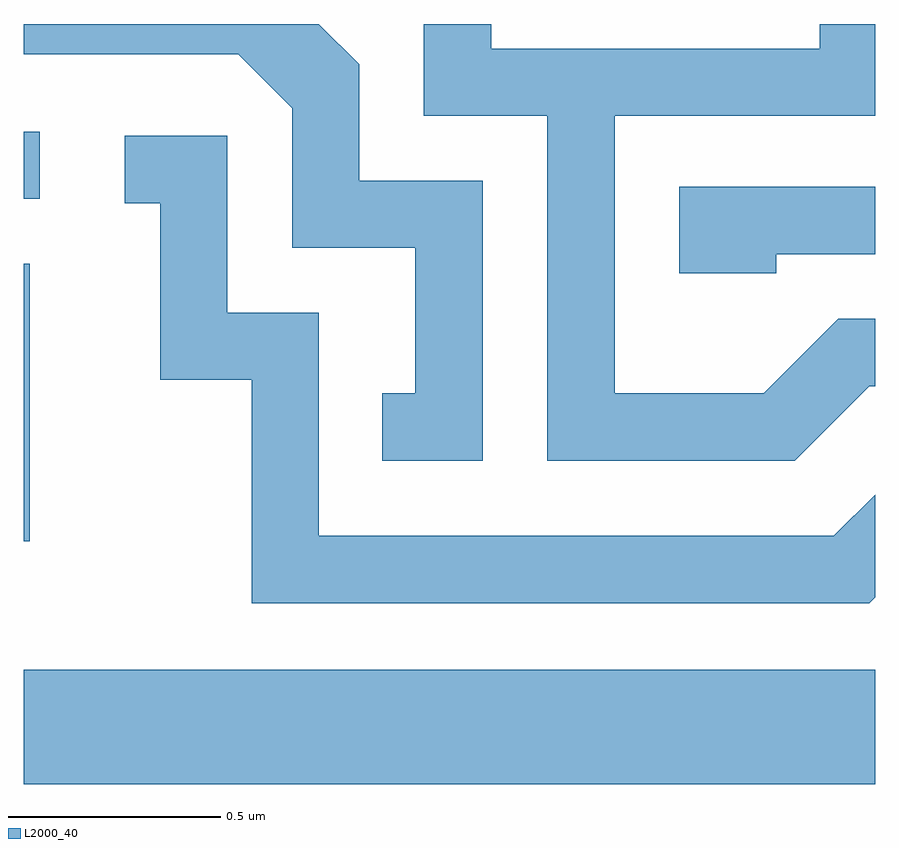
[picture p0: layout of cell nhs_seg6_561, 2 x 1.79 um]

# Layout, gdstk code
import gdstk
lib = gdstk.Library(unit=1e-6, precision=1e-09)
def R(c, l, rs):  # rectangles x0, y0, x1, y1
    for r in rs: c.add(gdstk.rectangle(r[:2], r[2:], *l))
def P(c, l, *ps):  # polygons
    for p in ps: c.add(gdstk.Polygon(p, *l))
L2000_40 = (2000, 40)

nhs_seg6_561 = lib.new_cell('nhs_seg6_561')
R(nhs_seg6_561, L2000_40, [(189.611,1543.376,191.611,1543.644), (189.611,1543.946,189.624,1544.599), (189.611,1544.751,189.648,1544.909)])
P(nhs_seg6_561, L2000_40, [(190.689,1544.794),(190.399,1544.794),(190.399,1545.067),(190.304,1545.162),(189.611,1545.162),(189.611,1545.091),(190.114,1545.091),(190.241,1544.964),(190.241,1544.636),(190.531,1544.636),(190.531,1544.294),(190.453,1544.294),(190.453,1544.136),(190.689,1544.136)],
  [(191.597,1544.311),(191.611,1544.311),(191.611,1544.469),(191.524,1544.469),(191.349,1544.294),(190.999,1544.294),(190.999,1544.946),(191.611,1544.946),(191.611,1545.162),(191.481,1545.162),(191.481,1545.104),(190.709,1545.104),(190.709,1545.162),(190.551,1545.162),(190.551,1544.946),(190.841,1544.946),(190.841,1544.136),(191.422,1544.136)],
  [(191.611,1543.815),(191.611,1544.056),(191.514,1543.959),(190.304,1543.959),(190.304,1544.484),(190.089,1544.484),(190.089,1544.899),(189.848,1544.899),(189.848,1544.741),(189.931,1544.741),(189.931,1544.326),(190.146,1544.326),(190.146,1543.801),(191.597,1543.801)],
  [(191.379,1544.621),(191.611,1544.621),(191.611,1544.779),(191.151,1544.779),(191.151,1544.576),(191.379,1544.576)])

lib.write_gds('nhs_seg6_561.gds')
